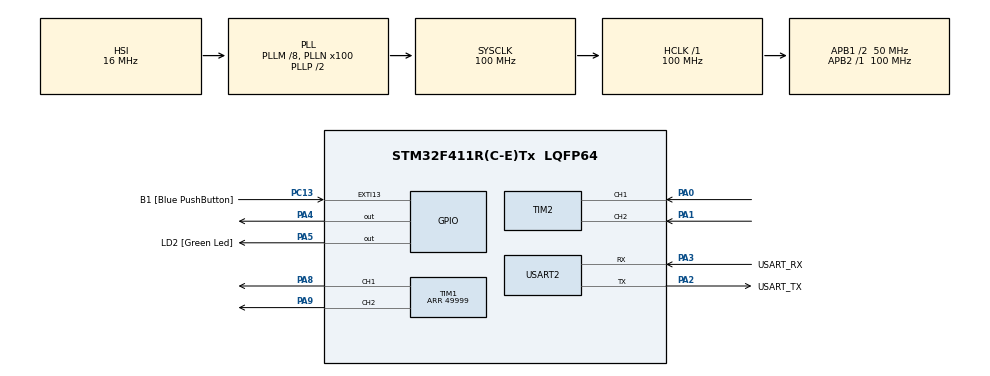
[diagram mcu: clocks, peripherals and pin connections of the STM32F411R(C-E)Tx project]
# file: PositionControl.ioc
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Mcu.Family=STM32F4
Mcu.Name=STM32F411R(C-E)Tx
Mcu.Package=LQFP64
NVIC.PriorityGroup=NVIC_PRIORITYGROUP_0
NVIC.TIM3_IRQn=true\:0\:0\:false\:false\:true\:true\:true\:true
NVIC.USART2_IRQn=true\:0\:0\:false\:false\:true\:true\:true\:true
PA0-WKUP.GPIO_PuPd=GPIO_PULLUP
PA0-WKUP.Signal=S_TIM2_CH1_ETR
PA1.GPIO_PuPd=GPIO_PULLUP
PA1.Signal=S_TIM2_CH2
PA13.GPIO_Label=TMS
PA13.Mode=Serial_Wire
PA13.Signal=SYS_JTMS-SWDIO
PA14.GPIO_Label=TCK
PA14.Mode=Serial_Wire
PA14.Signal=SYS_JTCK-SWCLK
PA2.GPIO_Label=USART_TX
PA2.Mode=Asynchronous
PA2.Signal=USART2_TX
PA3.GPIO_Label=USART_RX
PA3.Mode=Asynchronous
PA3.Signal=USART2_RX
PA4.Signal=GPIO_Output
PA5.GPIO_Label=LD2 [Green Led]
PA5.Signal=GPIO_Output
PA8.Signal=S_TIM1_CH1
PA9.Signal=S_TIM1_CH2
PB3.GPIO_Label=SWO
PB3.Signal=SYS_JTDO-SWO
PC13-ANTI_TAMP.GPIO_Label=B1 [Blue PushButton]
PC13-ANTI_TAMP.GPIO_ModeDefaultEXTI=GPIO_MODE_IT_FALLING
PC13-ANTI_TAMP.Signal=GPXTI13
PC14-OSC32_IN.Mode=LSE-External-Oscillator
PC14-OSC32_IN.Signal=RCC_OSC32_IN
PC15-OSC32_OUT.Mode=LSE-External-Oscillator
PC15-OSC32_OUT.Signal=RCC_OSC32_OUT
PH0\ -\ OSC_IN.Mode=HSE-External-Clock-Source
PH0\ -\ OSC_IN.Signal=RCC_OSC_IN
PH1\ -\ OSC_OUT.Mode=HSE-External-Clock-Source
PH1\ -\ OSC_OUT.Signal=RCC_OSC_OUT
ProjectManager.HeapSize=0x200
ProjectManager.StackSize=0x400
ProjectManager.TargetToolchain=STM32CubeIDE
RCC.48MHZClocksFreq_Value=50000000
RCC.AHBFreq_Value=100000000
RCC.APB1CLKDivider=RCC_HCLK_DIV2
RCC.APB1Freq_Value=50000000
RCC.APB1TimFreq_Value=100000000
RCC.APB2Freq_Value=100000000
RCC.APB2TimFreq_Value=100000000
RCC.CortexFreq_Value=100000000
RCC.FLatency-AdvancedSettings=FLASH_LATENCY_3
RCC.HCLKFreq_Value=100000000
RCC.HSE_VALUE=8000000
RCC.HSI_VALUE=16000000
RCC.PLLM=8
RCC.PLLN=100
RCC.SYSCLKFreq_VALUE=100000000
RCC.SYSCLKSource=RCC_SYSCLKSOURCE_PLLCLK
RCC.VCOOutputFreq_Value=200000000
SH.S_TIM1_CH1.0=TIM1_CH1,PWM Generation1 CH1
SH.S_TIM1_CH2.0=TIM1_CH2,PWM Generation2 CH2
SH.S_TIM2_CH1_ETR.0=TIM2_CH1,Encoder_Interface
SH.S_TIM2_CH2.0=TIM2_CH2,Encoder_Interface
TIM1.Channel-PWM\ Generation1\ CH1=TIM_CHANNEL_1
TIM1.Channel-PWM\ Generation2\ CH2=TIM_CHANNEL_2
TIM1.Period=49999
TIM2.EncoderMode=TIM_ENCODERMODE_TI12
TIM3.Period=4999
TIM3.Prescaler=9
USART2.VirtualMode=VM_ASYNC
VP_TIM1_VS_ClockSourceINT.Mode=Internal
VP_TIM3_VS_ClockSourceINT.Mode=Internal
board=NUCLEO-F411RE

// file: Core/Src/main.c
/* USER CODE BEGIN Header */
/**
  ******************************************************************************
  * @file           : main.c
  * @brief          : Main program body
  ******************************************************************************
  * @attention
  *
  * Copyright (c) 2023 STMicroelectronics.
  * All rights reserved.
  *
  * This software is licensed under terms that can be found in the LICENSE file
  * in the root directory of this software component.
  * If no LICENSE file comes with this software, it is provided AS-IS.
  *
  ******************************************************************************
  */
/* USER CODE END Header */
#include "main.h"

TIM_HandleTypeDef htim1;
TIM_HandleTypeDef htim2;
TIM_HandleTypeDef htim3;

UART_HandleTypeDef huart2;

/* USER CODE BEGIN PV */
int32_t QEIReadRaw;
float QEIposition;
int32_t L_QEIReadRaw;
volatile int32_t PWM;
float error;
float error_d1;
float summa;
float deltu;
uint16_t Kp = 6338;
uint16_t Ki = 3230;
uint16_t Kd = 65;

//Trajectory
double setposition;
double velocity;
double acceleration;

int initial_p = 0;
int target_p = 0;
int Ltarget_p = 0;

int Target_set;

double time_total;
double t,tj,ta,tv,t1,t2,t3,t4,t5,t6,t7;
int dataset[20] = {700,0,350,700,0,360,340,360,340,360,340,360,340,345,350,345,350,345,350,345};

uint64_t i;
int8_t dir = 0;
/* USER CODE END PV */

void SystemClock_Config(void);
static void MX_GPIO_Init(void);
static void MX_USART2_UART_Init(void);
static void MX_TIM1_Init(void);
static void MX_TIM2_Init(void);
static void MX_TIM3_Init(void);
/* USER CODE BEGIN PFP */
void setMotor(int PWM);
//void Unwrap();
void Encoder();

void Trajectory_Generator(int initial_p,int target_p,float vmax,float amax,float jmax);
void Trajectory_Evaluated(float vmax,float amax,float jmax);
void Trajectory_Algolithms();
/* USER CODE END PFP */

int main(void)
{

  /* MCU Configuration--------------------------------------------------------*/

  /* Reset of all peripherals, Initializes the Flash interface and the Systick. */
  HAL_Init();

  /* Configure the system clock */
  SystemClock_Config();

  /* Initialize all configured peripherals */
  MX_GPIO_Init();
  MX_USART2_UART_Init();
  MX_TIM1_Init();
  MX_TIM2_Init();
  MX_TIM3_Init();
  /* USER CODE BEGIN 2 */
HAL_TIM_Encoder_Start(&htim2, TIM_CHANNEL_1|TIM_CHANNEL_2); //Encoder

HAL_TIM_Base_Start(&htim1); //Motor
HAL_TIM_PWM_Start(&htim1, TIM_CHANNEL_1);
HAL_TIM_PWM_Start(&htim1, TIM_CHANNEL_2);

HAL_TIM_Base_Start_IT(&htim3); //Timer Interrupt
  /* USER CODE END 2 */

  /* Infinite loop */
while (1)
  {

  }
}

void SystemClock_Config(void)
{
  RCC_OscInitTypeDef RCC_OscInitStruct = {0};
  RCC_ClkInitTypeDef RCC_ClkInitStruct = {0};

  /** Configure the main internal regulator output voltage
  */
  __HAL_RCC_PWR_CLK_ENABLE();
  __HAL_PWR_VOLTAGESCALING_CONFIG(PWR_REGULATOR_VOLTAGE_SCALE1);

  /** Initializes the RCC Oscillators according to the specified parameters
  * in the RCC_OscInitTypeDef structure.
  */
  RCC_OscInitStruct.OscillatorType = RCC_OSCILLATORTYPE_HSI;
  RCC_OscInitStruct.HSIState = RCC_HSI_ON;
  RCC_OscInitStruct.HSICalibrationValue = RCC_HSICALIBRATION_DEFAULT;
  RCC_OscInitStruct.PLL.PLLState = RCC_PLL_ON;
  RCC_OscInitStruct.PLL.PLLSource = RCC_PLLSOURCE_HSI;
  RCC_OscInitStruct.PLL.PLLM = 8;
  RCC_OscInitStruct.PLL.PLLN = 100;
  RCC_OscInitStruct.PLL.PLLP = RCC_PLLP_DIV2;
  RCC_OscInitStruct.PLL.PLLQ = 4;
  if (HAL_RCC_OscConfig(&RCC_OscInitStruct) != HAL_OK)
  {
    Error_Handler();
  }

  /** Initializes the CPU, AHB and APB buses clocks
  */
  RCC_ClkInitStruct.ClockType = RCC_CLOCKTYPE_HCLK|RCC_CLOCKTYPE_SYSCLK
                              |RCC_CLOCKTYPE_PCLK1|RCC_CLOCKTYPE_PCLK2;
  RCC_ClkInitStruct.SYSCLKSource = RCC_SYSCLKSOURCE_PLLCLK;
  RCC_ClkInitStruct.AHBCLKDivider = RCC_SYSCLK_DIV1;
  RCC_ClkInitStruct.APB1CLKDivider = RCC_HCLK_DIV2;
  RCC_ClkInitStruct.APB2CLKDivider = RCC_HCLK_DIV1;

  if (HAL_RCC_ClockConfig(&RCC_ClkInitStruct, FLASH_LATENCY_3) != HAL_OK)
  {
    Error_Handler();
  }
}

static void MX_TIM1_Init(void)
{

  TIM_ClockConfigTypeDef sClockSourceConfig = {0};
  TIM_MasterConfigTypeDef sMasterConfig = {0};
  TIM_OC_InitTypeDef sConfigOC = {0};
  TIM_BreakDeadTimeConfigTypeDef sBreakDeadTimeConfig = {0};

  htim1.Instance = TIM1;
  htim1.Init.Prescaler = 0;
  htim1.Init.CounterMode = TIM_COUNTERMODE_UP;
  htim1.Init.Period = 49999;
  htim1.Init.ClockDivision = TIM_CLOCKDIVISION_DIV1;
  htim1.Init.RepetitionCounter = 0;
  htim1.Init.AutoReloadPreload = TIM_AUTORELOAD_PRELOAD_DISABLE;
  if (HAL_TIM_Base_Init(&htim1) != HAL_OK)
  {
    Error_Handler();
  }
  sClockSourceConfig.ClockSource = TIM_CLOCKSOURCE_INTERNAL;
  if (HAL_TIM_ConfigClockSource(&htim1, &sClockSourceConfig) != HAL_OK)
  {
    Error_Handler();
  }
  if (HAL_TIM_PWM_Init(&htim1) != HAL_OK)
  {
    Error_Handler();
  }
  sMasterConfig.MasterOutputTrigger = TIM_TRGO_RESET;
  sMasterConfig.MasterSlaveMode = TIM_MASTERSLAVEMODE_DISABLE;
  if (HAL_TIMEx_MasterConfigSynchronization(&htim1, &sMasterConfig) != HAL_OK)
  {
    Error_Handler();
  }
  sConfigOC.OCMode = TIM_OCMODE_PWM1;
  sConfigOC.Pulse = 0;
  sConfigOC.OCPolarity = TIM_OCPOLARITY_HIGH;
  sConfigOC.OCNPolarity = TIM_OCNPOLARITY_HIGH;
  sConfigOC.OCFastMode = TIM_OCFAST_DISABLE;
  sConfigOC.OCIdleState = TIM_OCIDLESTATE_RESET;
  sConfigOC.OCNIdleState = TIM_OCNIDLESTATE_RESET;
  if (HAL_TIM_PWM_ConfigChannel(&htim1, &sConfigOC, TIM_CHANNEL_1) != HAL_OK)
  {
    Error_Handler();
  }
  if (HAL_TIM_PWM_ConfigChannel(&htim1, &sConfigOC, TIM_CHANNEL_2) != HAL_OK)
  {
    Error_Handler();
  }
  sBreakDeadTimeConfig.OffStateRunMode = TIM_OSSR_DISABLE;
  sBreakDeadTimeConfig.OffStateIDLEMode = TIM_OSSI_DISABLE;
  sBreakDeadTimeConfig.LockLevel = TIM_LOCKLEVEL_OFF;
  sBreakDeadTimeConfig.DeadTime = 0;
  sBreakDeadTimeConfig.BreakState = TIM_BREAK_DISABLE;
  sBreakDeadTimeConfig.BreakPolarity = TIM_BREAKPOLARITY_HIGH;
  sBreakDeadTimeConfig.AutomaticOutput = TIM_AUTOMATICOUTPUT_DISABLE;
  if (HAL_TIMEx_ConfigBreakDeadTime(&htim1, &sBreakDeadTimeConfig) != HAL_OK)
  {
    Error_Handler();
  }
  HAL_TIM_MspPostInit(&htim1);

}

static void MX_TIM2_Init(void)
{

  TIM_Encoder_InitTypeDef sConfig = {0};
  TIM_MasterConfigTypeDef sMasterConfig = {0};

  htim2.Instance = TIM2;
  htim2.Init.Prescaler = 0;
  htim2.Init.CounterMode = TIM_COUNTERMODE_UP;
  htim2.Init.Period = 4294967295;
  htim2.Init.ClockDivision = TIM_CLOCKDIVISION_DIV1;
  htim2.Init.AutoReloadPreload = TIM_AUTORELOAD_PRELOAD_DISABLE;
  sConfig.EncoderMode = TIM_ENCODERMODE_TI12;
  sConfig.IC1Polarity = TIM_ICPOLARITY_RISING;
  sConfig.IC1Selection = TIM_ICSELECTION_DIRECTTI;
  sConfig.IC1Prescaler = TIM_ICPSC_DIV1;
  sConfig.IC1Filter = 0;
  sConfig.IC2Polarity = TIM_ICPOLARITY_RISING;
  sConfig.IC2Selection = TIM_ICSELECTION_DIRECTTI;
  sConfig.IC2Prescaler = TIM_ICPSC_DIV1;
  sConfig.IC2Filter = 0;
  if (HAL_TIM_Encoder_Init(&htim2, &sConfig) != HAL_OK)
  {
    Error_Handler();
  }
  sMasterConfig.MasterOutputTrigger = TIM_TRGO_RESET;
  sMasterConfig.MasterSlaveMode = TIM_MASTERSLAVEMODE_DISABLE;
  if (HAL_TIMEx_MasterConfigSynchronization(&htim2, &sMasterConfig) != HAL_OK)
  {
    Error_Handler();
  }

}

static void MX_TIM3_Init(void)
{

  TIM_ClockConfigTypeDef sClockSourceConfig = {0};
  TIM_MasterConfigTypeDef sMasterConfig = {0};

  htim3.Instance = TIM3;
  htim3.Init.Prescaler = 9;
  htim3.Init.CounterMode = TIM_COUNTERMODE_UP;
  htim3.Init.Period = 4999;
  htim3.Init.ClockDivision = TIM_CLOCKDIVISION_DIV1;
  htim3.Init.AutoReloadPreload = TIM_AUTORELOAD_PRELOAD_DISABLE;
  if (HAL_TIM_Base_Init(&htim3) != HAL_OK)
  {
    Error_Handler();
  }
  sClockSourceConfig.ClockSource = TIM_CLOCKSOURCE_INTERNAL;
  if (HAL_TIM_ConfigClockSource(&htim3, &sClockSourceConfig) != HAL_OK)
  {
    Error_Handler();
  }
  sMasterConfig.MasterOutputTrigger = TIM_TRGO_RESET;
  sMasterConfig.MasterSlaveMode = TIM_MASTERSLAVEMODE_DISABLE;
  if (HAL_TIMEx_MasterConfigSynchronization(&htim3, &sMasterConfig) != HAL_OK)
  {
    Error_Handler();
  }

}

static void MX_USART2_UART_Init(void)
{

  huart2.Instance = USART2;
  huart2.Init.BaudRate = 115200;
  huart2.Init.WordLength = UART_WORDLENGTH_8B;
  huart2.Init.StopBits = UART_STOPBITS_1;
  huart2.Init.Parity = UART_PARITY_NONE;
  huart2.Init.Mode = UART_MODE_TX_RX;
  huart2.Init.HwFlowCtl = UART_HWCONTROL_NONE;
  huart2.Init.OverSampling = UART_OVERSAMPLING_16;
  if (HAL_UART_Init(&huart2) != HAL_OK)
  {
    Error_Handler();
  }

}

static void MX_GPIO_Init(void)
{
  GPIO_InitTypeDef GPIO_InitStruct = {0};

  /* GPIO Ports Clock Enable */
  __HAL_RCC_GPIOC_CLK_ENABLE();
  __HAL_RCC_GPIOH_CLK_ENABLE();
  __HAL_RCC_GPIOA_CLK_ENABLE();
  __HAL_RCC_GPIOB_CLK_ENABLE();

  /*Configure GPIO pin Output Level */
  HAL_GPIO_WritePin(GPIOA, GPIO_PIN_4|LD2_Pin, GPIO_PIN_RESET);

  /*Configure GPIO pin : B1_Pin */
  GPIO_InitStruct.Pin = B1_Pin;
  GPIO_InitStruct.Mode = GPIO_MODE_IT_FALLING;
  GPIO_InitStruct.Pull = GPIO_NOPULL;
  HAL_GPIO_Init(B1_GPIO_Port, &GPIO_InitStruct);

  /*Configure GPIO pins : PA4 LD2_Pin */
  GPIO_InitStruct.Pin = GPIO_PIN_4|LD2_Pin;
  GPIO_InitStruct.Mode = GPIO_MODE_OUTPUT_PP;
  GPIO_InitStruct.Pull = GPIO_NOPULL;
  GPIO_InitStruct.Speed = GPIO_SPEED_FREQ_LOW;
  HAL_GPIO_Init(GPIOA, &GPIO_InitStruct);

}

/* USER CODE BEGIN 4 */
//void Unwrap(){
//	static int32_t D_pos;
//	static uint32_t L_QEIReadRaw;
//	static uint32_t C1;
//	static uint32_t C2;
//	QEIReadRaw = __HAL_TIM_GET_COUNTER(&htim2);
//	D_pos = L_QEIReadRaw - QEIReadRaw;
//	if ((D_pos) > 3072/2){
//		C1 += 1;
//	}
//	else if ((D_pos) < -1*3072/2){
//		C2 += 1;
//	}
//	QEIposition = QEIReadRaw + (3072.0*C1) - (3072.0*C2);
//	QEIposition = (QEIposition/3072.0)*360.0;
//	L_QEIReadRaw = QEIReadRaw;
//}
void Encoder(){
	QEIReadRaw = __HAL_TIM_GET_COUNTER(&htim2);
	QEIposition = (QEIReadRaw/280.0)*120.0;
}

void setMotor(int PWM){
	if(PWM >= 0){
		__HAL_TIM_SET_COMPARE(&htim1,TIM_CHANNEL_1,PWM);
		HAL_GPIO_WritePin(GPIOA, GPIO_PIN_4, 0);
	}

	else if (PWM < 0){
		__HAL_TIM_SET_COMPARE(&htim1,TIM_CHANNEL_1,abs(PWM));
		HAL_GPIO_WritePin(GPIOA, GPIO_PIN_4, 1);
	}
}

void Controller(){
//	Unwrap();
	Encoder();
	Trajectory_Algolithms();
	error = setposition - QEIposition;
	deltu = (error - error_d1)*(1/2000);
	summa += (error)*(1/2000);
	PWM = (Kp*error) + (Kd*deltu) + (Ki*summa);
	if(PWM >= 50000){
		PWM = 50000;
	}
	else if(PWM <= -50000){
		PWM = -50000;
	}
//	if(error <= 1 && error >= -1){
//		PWM = 0;
//	}
	setMotor(PWM);
	error_d1 = error;
}

void HAL_TIM_PeriodElapsedCallback(TIM_HandleTypeDef *htim){
	if(htim == &htim3){
		Controller();
	}
}

void Trajectory_Generator(int initial_p,int target_p,float vmax,float amax,float jmax){
	//Set parameter
	uint32_t s = 0;
	uint8_t M = 0;
	uint8_t N = 0;
	uint8_t pattern = 0;
	float va = 0.0f;
	float sa = 0.0f;
	float sv = 0.0f;
	// Check for the feasibility of the trajectory
	if(vmax*jmax < amax*amax){
		M = 1;
		N = 0;
	}
	else{
		M = 0;
		N = 1;
	}

    // Determine the direction of the motion
    if (target_p - initial_p < 0){
        dir = -1;
    }
    else{
        dir = 1;
    }

    // Calculate the required distance
    s = abs(target_p - initial_p);

    // Calculate the values of va, sa and sv
    va = (amax*amax)/jmax;
    sa = 2*(amax*amax*amax)/(jmax*jmax);
    sv = vmax*((M * 2 * sqrt(vmax/jmax)) + N*((vmax/amax)+(amax/jmax)));

    // Determine the shape of the trajectory based on the values of va, sa and sv
    if ((vmax <= va) && (s >= sa)){
        pattern = 1;
    }
    else if ((vmax > va) && (s < sa)){
        pattern = 2;
    }
    else if ((vmax < va) && (s < sa) && (s > sv)){
        pattern = 3;
    }
    else if ((vmax < va) && (s < sa) && (s < sv)){
        pattern = 4;
    }
    else if ((vmax >= va) && (s >= sa) && (s >= sv)){
        pattern = 5;
    }
    else if ((vmax >= va) && (s >= sa) && (s < sv)){
        pattern = 6;
    }

    // Calculate the values of tj, ta and tv for each trajectory pattern
    switch (pattern){
        case 1:
            tj = (float)pow((vmax/jmax),(0.5));
            ta = tj;
            tv = s/vmax;
            break;
        case 2:
            tj = (float)pow(s/(2.0*jmax),1.0/3.0);
            ta = tj;
            tv = 2*tj;
            break;
        case 3:
            tj = (float)pow((s/(2*jmax)),(1.0/3.0));
            ta = tj;
            tv = 2*tj;
            break;
        case 4:
            tj = (float)pow((s/(2*jmax)),(1.0/3.0));
            ta = tj;
            tv = 2*tj;
            break;
        case 5:
            tj = amax/jmax;
            ta = vmax/amax;
            tv = s/vmax;
            break;
        case 6:
            tj = amax/jmax;
            ta = 0.5*(sqrt(((4*s*jmax*jmax)+(amax*amax*amax)) / (amax * jmax*jmax)) - (amax/jmax));
            tv = ta + tj;
            break;
    }

    // Calculate the values of t1 to t7 and the total time
    t1 = tj;
    t2 = ta;
    t3 = ta + tj;
    t4 = tv;
    t5 = tv + tj;
    t6 = tv + ta;
    t7 = tv + tj + ta;
    time_total = t7;
    if (s == 0){
    	time_total = 0;
    }
}

void Trajectory_Evaluated(float vmax,float amax,float jmax){
	double p1,p2,p3,p4,p5,p6,p7,v1,v2,v3,v4,v5,v6,v7,a1,a2,a3,a4,a5,a6,a7;
	t += 1.0/2000.0;
	if (t <= time_total){
		if(t <= t1){
			setposition = (float)initial_p + 1/6.0 * jmax * pow(t,3.0) * dir;
			velocity =  1/2.0 * jmax * t * t * dir;
            acceleration = jmax *t* dir;
            if(t <= t1){
            	p1 = p2 = setposition;
            	v1 = v2 = velocity;
            	a1 = a2 = acceleration;
            }
		}
		else if (t1 < t && t <= t2){
			setposition =  (float)p1 + v1 * (t - t1) + 1/2.0 * a1 * pow((t - t1),2.0);
			velocity = v1 + a1*(t-t1);
			acceleration = a1;
            if(t <= t2){
            	p2 = p3 = setposition;
            	v2 = v3 = velocity;
            	a2 = a3 = acceleration;
            }
		}
		else if (t2 < t && t <= t3){
			setposition = (float)p2 + v2 * (t - t2) + 1/2.0 * a2 * pow((t - t2),2.0) + 1.0/6.0 * - jmax * dir * pow((t - t2),3.0);
			velocity = v2 + a2 * (t - t2) + 1/2.0 * -jmax * dir * pow((t - t2),2.0);
			acceleration = a2 - (jmax * (t - t2))*dir;
            if(t <= t3){
            	p3 = p4 = p6 = setposition;
            	v3 = v4 = v6 = velocity;
            	a3 = a4 = a6 = acceleration;
            }
		}
		else if (t3 < t && t <= t4){
			setposition = (float)p3 + v3 * (t - t3);
			velocity = v3;
			acceleration = 0;
            if(t <= t4){
            	p4 = p5 = setposition;
            	v4 = v5 = velocity;
            	a4 = a5 = acceleration;
            }
		}
		else if (t4 < t && t <= t5){
			setposition = (float)p4 + v4 * (t - t4) + 1.0/6.0 * dir *- jmax * pow((t - t4),3.0);
			velocity = v4 + 1.0/2.0 * - jmax * dir * pow((t - t4),2.0);
			acceleration = (-jmax * (t - t4))*dir;
            if(t <= t5){
            	p5 = p6 = setposition;
            	v5 = v6 = velocity;
            	a5 = a6 = acceleration;
            }
		}
		else if (t5 < t && t <= t6){
			setposition = (float)p5 + v5 * (t - t5) + 1/2.0 * a5 * pow((t - t5),2.0);
			velocity = v5 + a5 * (t - t5);
			acceleration = a5;
			if(t <= t6){
				p6 = setposition;
				v6 = velocity;
				a6 = acceleration;
			}
		}
		else if (t6 < t && t <= t7){
			setposition = (float)p6 + v6 * (t - t6) + 1.0/2.0 * a6 * pow((t - t6),2) + 1/6.0 * jmax* dir * pow((t - t6),3);
			velocity = v6 + a6 * (t - t6) + 1.0/2.0 * jmax*dir * pow((t - t6),2);
			acceleration = a6 + dir *jmax * (t - t6);
		}
	}

}

void Trajectory_Algolithms(){
	target_p = Target_set;
	if(target_p != Ltarget_p){
		t = 0;
		initial_p = setposition;
		Trajectory_Generator(initial_p,target_p,600,1000,2500); //650,2000,7000
	}
	if(t <= time_total){
		Trajectory_Evaluated(600,1000,2500); //600,1000,2500
	}

	if((setposition - QEIposition <= 1) && (setposition - QEIposition >= -1) && (t >= time_total)){
//		i += 1;
//		Target_set = dataset[i%20];
		setposition = Target_set;
		PWM = 0;
	}
	Ltarget_p  = target_p;
}

/* USER CODE END 4 */

void Error_Handler(void)
{
  __disable_irq();
  while (1)
  {
  }
}
